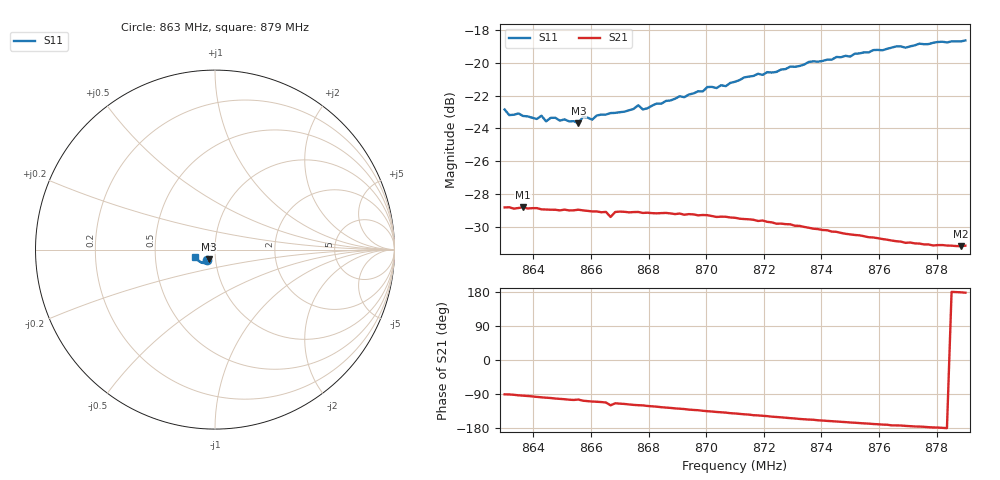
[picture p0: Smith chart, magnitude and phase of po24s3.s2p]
# HZ S RI R 50
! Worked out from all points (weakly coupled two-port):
!   101 points, 863 MHz to 879 MHz, reference 50 ohm
!   highest |S21| = -28.82 dB at 863.64 MHz (marker M1); lowest = -31.2 dB at 878.84 MHz (marker M2)
!   lowest |S11| = -23.7 dB at 865.56 MHz (marker M3), VSWR 1.14, Z = 46.3 - j5.09 ohm
!   |S11| at or under -10 dB: start of sweep to end of sweep
!   S12 and S22 are empty: the file has one direction only
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8.63e8  -0.0462 -0.0553  -0.000417 -0.0362  0 0  0 0
8.6316e8  -0.0433 -0.0541  -0.00059 -0.0362  0 0  0 0
8.6364e8  -0.0414 -0.055  -0.00258 -0.0361  0 0  0 0
8.6428e8  -0.0392 -0.0567  -0.00526 -0.0353  0 0  0 0
8.6444e8  -0.0377 -0.0545  -0.00586 -0.0352  0 0  0 0
8.6556e8  -0.0358 -0.0548  -0.00884 -0.0345  0 0  0 0
8.6572e8  -0.035 -0.0588  -0.0106 -0.0338  0 0  0 0
8.6604e8  -0.0348 -0.0573  -0.0118 -0.0331  0 0  0 0
8.6652e8  -0.0354 -0.0598  -0.0133 -0.0324  0 0  0 0
8.6668e8  -0.0352 -0.0608  -0.0167 -0.0294  0 0  0 0
8.67e8  -0.0358 -0.0609  -0.0149 -0.0318  0 0  0 0
8.6764e8  -0.0363 -0.0647  -0.0171 -0.0306  0 0  0 0
8.678e8  -0.0352 -0.0629  -0.0173 -0.0302  0 0  0 0
8.6844e8  -0.0362 -0.0657  -0.0197 -0.0286  0 0  0 0
8.6988e8  -0.0414 -0.0706  -0.0238 -0.0247  0 0  0 0
8.7004e8  -0.0433 -0.0724  -0.0242 -0.0242  0 0  0 0
8.7036e8  -0.0439 -0.0713  -0.0248 -0.023  0 0  0 0
8.71e8  -0.0482 -0.0731  -0.0262 -0.0211  0 0  0 0
8.7372e8  -0.068 -0.0748  -0.0288 -0.0118  0 0  0 0
8.7644e8  -0.0921 -0.0625  -0.0284 -0.00375  0 0  0 0
8.7884e8  -0.1088 -0.0411  -0.0275 0.000654  0 0  0 0
8.79e8  -0.1104 -0.039  -0.0276 0.00117  0 0  0 0
